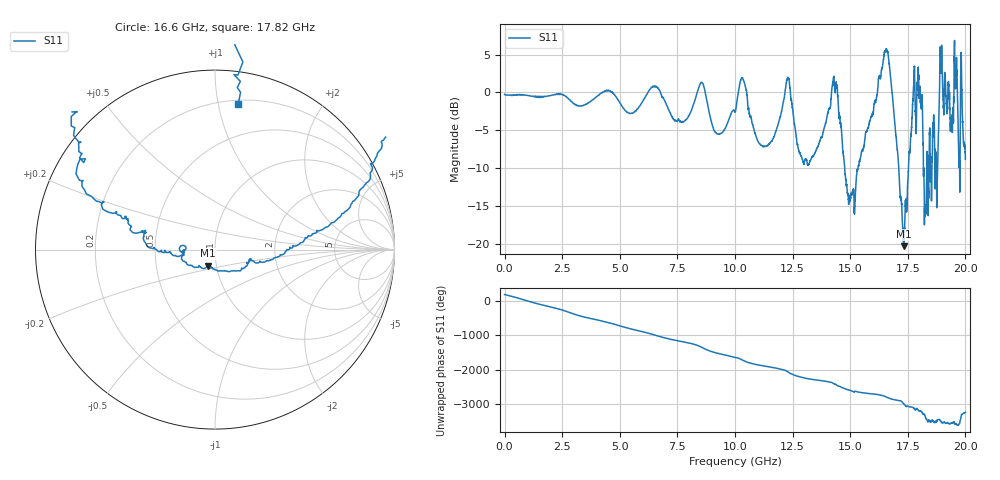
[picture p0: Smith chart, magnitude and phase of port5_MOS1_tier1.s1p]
! Created with skrf 1.8.0 (http://scikit-rf.org).
# GHz S RI R 50.0
!freq ReS11 ImS11
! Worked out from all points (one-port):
!   10000 points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, 3 MHz to 20 GHz, reference 50 ohm
!   lowest |S11| = -20.3 dB at 17.33 GHz (marker M1), VSWR 1.21, Z = 45.7 - j8.17 ohm
!   |S11| at or under -10 dB: 14.76 GHz to 15.34 GHz (574.2 MHz wide, 3.82 % of centre); 17.11 GHz to 17.53 GHz (419.7 MHz wide, 2.42 % of centre); 18.19 GHz to 18.32 GHz (135.7 MHz wide, 0.743 % of centre) (the widest 3 of 11)
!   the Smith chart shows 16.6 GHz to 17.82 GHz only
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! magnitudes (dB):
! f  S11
! 3 MHz  -0.3
! 2.503 GHz  -0.3
! 5.003 GHz  -1.4
! 6.555 GHz  0.8
! 7.503 GHz  -3.8
! 8.543 GHz  1.3
! 9.197 GHz  -5.4
! 10 GHz  -2.6
! 10.35 GHz  1.8
! 11.27 GHz  -7.1
! 12.27 GHz  1.7
! 12.5 GHz  -2.2
! 13.22 GHz  -9.5
! 14.34 GHz  0.1
! 15 GHz  -13.9
! 16.56 GHz  5.8
! 17.33 GHz  -20.3
! 17.5 GHz  -11.9
! 17.72 GHz  -0.9
! 17.98 GHz  0.0
! 18.29 GHz  -15.8
! 18.53 GHz  -13.6
! 18.75 GHz  -15.2
! 18.96 GHz  3.9
! 19.4 GHz  -3.6
! 19.59 GHz  1.9
! 19.68 GHz  -4.1
! 20 GHz  -8.8
